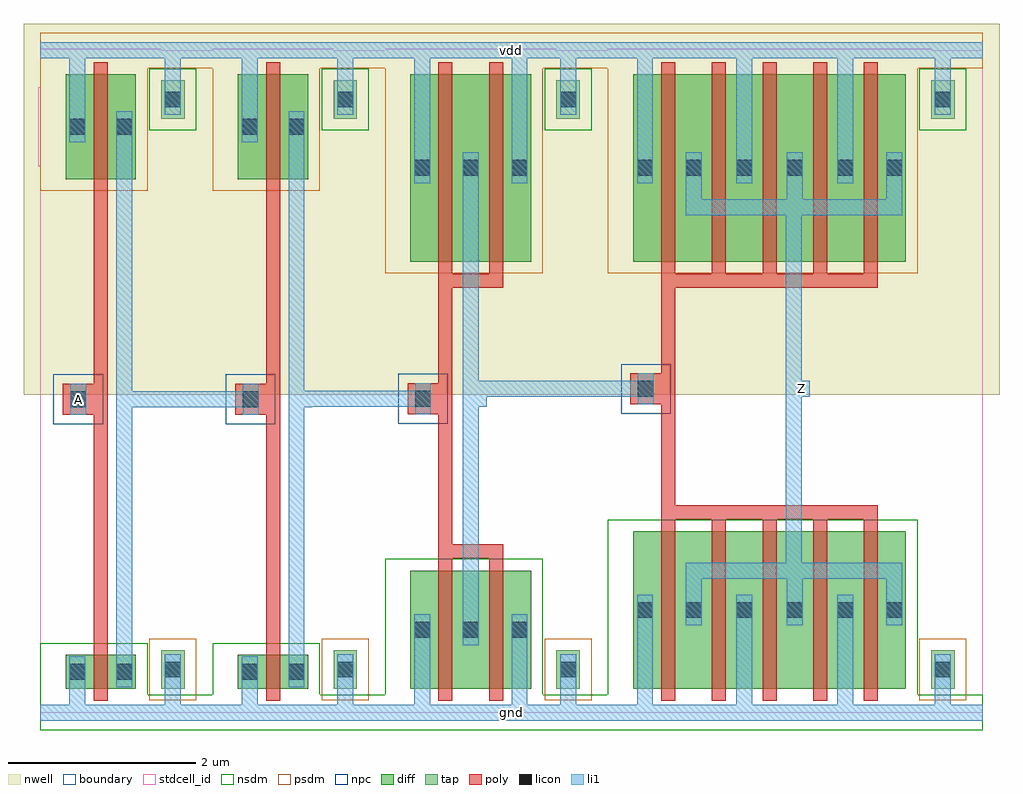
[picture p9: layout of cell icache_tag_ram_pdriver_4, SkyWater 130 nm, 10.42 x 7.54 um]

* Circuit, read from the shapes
.subckt icache_tag_ram_pdriver_4 A Z gnd vdd
XM1 icache_tag_ram_pinv_4_1/A A gnd gnd sky130_fd_pr__nfet_01v8 w=0.36 l=0.15
XM2 icache_tag_ram_pinv_9_2/A icache_tag_ram_pinv_4_1/A gnd gnd sky130_fd_pr__nfet_01v8 w=0.36 l=0.15
XM3 icache_tag_ram_pinv_14_3/A icache_tag_ram_pinv_9_2/A gnd gnd sky130_fd_pr__nfet_01v8 w=1.26 l=0.15 m=2
XM4 Z icache_tag_ram_pinv_14_3/A gnd gnd sky130_fd_pr__nfet_01v8 w=1.68 l=0.15 m=5
XM5 icache_tag_ram_pinv_4_1/A A vdd vdd sky130_fd_pr__pfet_01v8 w=1.12 l=0.15
XM6 icache_tag_ram_pinv_9_2/A icache_tag_ram_pinv_4_1/A vdd vdd sky130_fd_pr__pfet_01v8 w=1.12 l=0.15
XM7 icache_tag_ram_pinv_14_3/A icache_tag_ram_pinv_9_2/A vdd vdd sky130_fd_pr__pfet_01v8 w=2 l=0.15 m=2
XM8 Z icache_tag_ram_pinv_14_3/A vdd vdd sky130_fd_pr__pfet_01v8 w=2 l=0.15 m=5
.ends

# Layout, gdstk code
import gdstk
lib = gdstk.Library(unit=1e-6, precision=1e-09)
def R(c, l, rs):  # rectangles x0, y0, x1, y1
    for r in rs: c.add(gdstk.rectangle(r[:2], r[2:], *l))
def A(c, l, x, y, w, h, nx, ny, dx, dy):  # array of equal rectangles
    R(c, l, [(x+i*dx, y+j*dy, x+i*dx+w, y+j*dy+h) for i in range(nx) for j in range(ny)])
nwell = (64, 20)
diff = (65, 20)
tap = (65, 44)
poly = (66, 20)
licon = (66, 44)
li1 = (67, 20)
stdcell_id = (81, 4)
nsdm = (93, 44)
psdm = (94, 20)
npc = (95, 20)
boundary = (235, 4)

icache_tag_ram_contact_1 = lib.new_cell('icache_tag_ram_contact_11')
R(icache_tag_ram_contact_1, nwell, [(-0.295,-0.255,0.545,0.585)])
R(icache_tag_ram_contact_1, diff, [(0,0.02,0.25,0.31)])
R(icache_tag_ram_contact_1, licon, [(0.04,0.08,0.21,0.25)])
R(icache_tag_ram_contact_1, li1, [(0.04,0,0.21,0.33)])
R(icache_tag_ram_contact_1, stdcell_id, [(-0.295,-0.255,0.545,0.585)])
R(icache_tag_ram_contact_1, psdm, [(-0.125,-0.105,0.375,0.435)])
R(icache_tag_ram_contact_1, boundary, [(-0.295,-0.255,0.545,0.585)])

icache_tag_ram_pmos_m1_w = lib.new_cell('icache_tag_ram_pmos_m1_w1_120_sli_dli_da_p')
R(icache_tag_ram_pmos_m1_w, nwell, [(-0.27,-0.27,1.02,1.39)])
R(icache_tag_ram_pmos_m1_w, diff, [(0,0,0.75,1.12)])
R(icache_tag_ram_pmos_m1_w, poly, [(0.3,-0.13,0.45,1.25), (0.3,-0.13,0.45,1.25)])
R(icache_tag_ram_pmos_m1_w, li1, [(0.04,0.395,0.21,0.725), (0.54,0.395,0.71,0.725)])
R(icache_tag_ram_pmos_m1_w, stdcell_id, [(-0.27,-0.27,1.02,1.39)])
R(icache_tag_ram_pmos_m1_w, psdm, [(-0.125,-0.125,0.875,1.245)])
R(icache_tag_ram_pmos_m1_w, boundary, [(-0.27,-0.27,1.02,1.39)])
icache_tag_ram_pmos_m1_w.add(gdstk.Reference(icache_tag_ram_contact_1, (0,0.395)))
icache_tag_ram_pmos_m1_w.add(gdstk.Reference(icache_tag_ram_contact_1, (0.5,0.395)))
icache_tag_ram_pmos_m1_w.add(gdstk.Label('G', (0.375,0.56), layer=66, texttype=5))
icache_tag_ram_pmos_m1_w.add(gdstk.Label('S', (0.125,0.56), layer=67, texttype=5))
icache_tag_ram_pmos_m1_w.add(gdstk.Label('D', (0.625,0.56), layer=67, texttype=5))

c_icache_tag_ram_contact_1 = lib.new_cell('icache_tag_ram_contact_10')
R(c_icache_tag_ram_contact_1, diff, [(0,0.02,0.25,0.31)])
R(c_icache_tag_ram_contact_1, licon, [(0.04,0.08,0.21,0.25)])
R(c_icache_tag_ram_contact_1, li1, [(0.04,0,0.21,0.33)])
R(c_icache_tag_ram_contact_1, stdcell_id, [(-0.125,-0.105,0.375,0.435)])
R(c_icache_tag_ram_contact_1, nsdm, [(-0.125,-0.105,0.375,0.435)])
R(c_icache_tag_ram_contact_1, boundary, [(-0.125,-0.105,0.375,0.435)])

icache_tag_ram_nmos_m1_w = lib.new_cell('icache_tag_ram_nmos_m1_w0_360_sli_dli_da_p')
R(icache_tag_ram_nmos_m1_w, diff, [(0,0,0.75,0.36)])
R(icache_tag_ram_nmos_m1_w, poly, [(0.3,-0.13,0.45,0.49), (0.3,-0.13,0.45,0.49)])
R(icache_tag_ram_nmos_m1_w, li1, [(0.04,0.015,0.21,0.345), (0.54,0.015,0.71,0.345)])
R(icache_tag_ram_nmos_m1_w, stdcell_id, [(-0.125,-0.13,0.875,0.49)])
R(icache_tag_ram_nmos_m1_w, nsdm, [(-0.125,-0.125,0.875,0.485)])
R(icache_tag_ram_nmos_m1_w, boundary, [(-0.125,-0.13,0.875,0.49)])
icache_tag_ram_nmos_m1_w.add(gdstk.Reference(c_icache_tag_ram_contact_1, (0,0.015)))
icache_tag_ram_nmos_m1_w.add(gdstk.Reference(c_icache_tag_ram_contact_1, (0.5,0.015)))
icache_tag_ram_nmos_m1_w.add(gdstk.Label('G', (0.375,0.18), layer=66, texttype=5))
icache_tag_ram_nmos_m1_w.add(gdstk.Label('S', (0.125,0.18), layer=67, texttype=5))
icache_tag_ram_nmos_m1_w.add(gdstk.Label('D', (0.625,0.18), layer=67, texttype=5))

icache_tag_ram_contact_2 = lib.new_cell('icache_tag_ram_contact_24')
R(icache_tag_ram_contact_2, nwell, [(-0.295,-0.215,0.545,0.625)])
R(icache_tag_ram_contact_2, tap, [(0,0,0.25,0.41)])
R(icache_tag_ram_contact_2, licon, [(0.04,0.12,0.21,0.29)])
R(icache_tag_ram_contact_2, li1, [(0.04,0.04,0.21,0.37)])
R(icache_tag_ram_contact_2, stdcell_id, [(-0.295,-0.215,0.545,0.625)])
R(icache_tag_ram_contact_2, nsdm, [(-0.125,-0.125,0.375,0.535)])
R(icache_tag_ram_contact_2, boundary, [(-0.295,-0.215,0.545,0.625)])

c_icache_tag_ram_contact_2 = lib.new_cell('icache_tag_ram_contact_25')
R(c_icache_tag_ram_contact_2, tap, [(0,0,0.25,0.41)])
R(c_icache_tag_ram_contact_2, licon, [(0.04,0.12,0.21,0.29)])
R(c_icache_tag_ram_contact_2, li1, [(0.04,0.04,0.21,0.37)])
R(c_icache_tag_ram_contact_2, stdcell_id, [(-0.125,-0.125,0.375,0.535)])
R(c_icache_tag_ram_contact_2, psdm, [(-0.125,-0.125,0.375,0.535)])
R(c_icache_tag_ram_contact_2, boundary, [(-0.125,-0.125,0.375,0.535)])

c_icache_tag_ram_contact_1_ = lib.new_cell('icache_tag_ram_contact_15')
R(c_icache_tag_ram_contact_1_, poly, [(0,0,0.33,0.33)])
R(c_icache_tag_ram_contact_1_, licon, [(0.08,0.08,0.25,0.25)])
R(c_icache_tag_ram_contact_1_, li1, [(0.08,0,0.25,0.33)])
R(c_icache_tag_ram_contact_1_, stdcell_id, [(-0.1,-0.1,0.43,0.43)])
R(c_icache_tag_ram_contact_1_, npc, [(-0.1,-0.1,0.43,0.43)])
R(c_icache_tag_ram_contact_1_, boundary, [(-0.1,-0.1,0.43,0.43)])

icache_tag_ram_pinv_4 = lib.new_cell('icache_tag_ram_pinv_4')
R(icache_tag_ram_pinv_4, nwell, [(-0.18,3.395,2.02,7.355)])
R(icache_tag_ram_pinv_4, poly, [(0.57,0.745,0.72,5.565), (0.405,3.18,0.57,3.51)])
R(icache_tag_ram_pinv_4, li1, [(0,-0.085,1.84,0.085), (0.31,-0.085,0.48,0.27), (1.33,0,1.5,0.46), (0.81,0.27,0.98,6.42), (0.32,3.18,0.49,3.51), (0.895,3.26,1.065,3.43), (0.31,6.09,0.48,7.155), (1.33,6.545,1.5,7.07), (0,6.985,1.84,7.155)])
R(icache_tag_ram_pinv_4, stdcell_id, [(0,0,1.84,7.07), (0,0,1.84,7.07)])
R(icache_tag_ram_pinv_4, nsdm, [(0,-0.19,1.84,0.19), (0,0,1.145,0.74)])
R(icache_tag_ram_pinv_4, psdm, [(0,5.57,1.145,7.07), (0,6.88,1.84,7.26)])
R(icache_tag_ram_pinv_4, boundary, [(0,0,1.84,7.07), (0,0,1.84,7.07)])
icache_tag_ram_pinv_4.add(gdstk.Reference(icache_tag_ram_pmos_m1_w, (0.27,5.695)))
icache_tag_ram_pinv_4.add(gdstk.Reference(icache_tag_ram_nmos_m1_w, (0.27,0.255)))
icache_tag_ram_pinv_4.add(gdstk.Reference(icache_tag_ram_contact_2, (1.29,6.34)))
icache_tag_ram_pinv_4.add(gdstk.Reference(c_icache_tag_ram_contact_2, (1.29,0.255)))
icache_tag_ram_pinv_4.add(gdstk.Reference(c_icache_tag_ram_contact_1_, (0.24,3.18)))
icache_tag_ram_pinv_4.add(gdstk.Label('A', (0.405,3.345), layer=67, texttype=5))
icache_tag_ram_pinv_4.add(gdstk.Label('Z', (0.98,3.345), layer=67, texttype=5))
icache_tag_ram_pinv_4.add(gdstk.Label('gnd', (0.92,0), layer=67, texttype=5))
icache_tag_ram_pinv_4.add(gdstk.Label('vdd', (0.92,7.07), layer=67, texttype=5))

icache_tag_ram_pmos_m2_w = lib.new_cell('icache_tag_ram_pmos_m2_w2_000_sli_dli_da_p')
R(icache_tag_ram_pmos_m2_w, nwell, [(-0.27,-0.27,1.56,2.27)])
R(icache_tag_ram_pmos_m2_w, diff, [(0,0,1.29,2)])
R(icache_tag_ram_pmos_m2_w, poly, [(0.3,-0.28,0.99,-0.13), (0.3,-0.13,0.45,2.13), (0.84,-0.13,0.99,2.13)])
A(icache_tag_ram_pmos_m2_w, li1, 0.04, 0.835, 0.17, 0.33, 3, 1, 0.52, 0)
R(icache_tag_ram_pmos_m2_w, stdcell_id, [(-0.27,-0.28,1.56,2.27)])
R(icache_tag_ram_pmos_m2_w, psdm, [(-0.125,-0.125,1.415,2.125)])
R(icache_tag_ram_pmos_m2_w, boundary, [(-0.27,-0.28,1.56,2.27)])
icache_tag_ram_pmos_m2_w.add(gdstk.Reference(icache_tag_ram_contact_1, (0,0.835)))
icache_tag_ram_pmos_m2_w.add(gdstk.Reference(icache_tag_ram_contact_1, (0.52,0.835)))
icache_tag_ram_pmos_m2_w.add(gdstk.Reference(icache_tag_ram_contact_1, (1.04,0.835)))
icache_tag_ram_pmos_m2_w.add(gdstk.Label('G', (0.645,-0.205), layer=66, texttype=5))
icache_tag_ram_pmos_m2_w.add(gdstk.Label('S', (0.125,1), layer=67, texttype=5))
icache_tag_ram_pmos_m2_w.add(gdstk.Label('S', (1.165,1), layer=67, texttype=5))
icache_tag_ram_pmos_m2_w.add(gdstk.Label('D', (0.645,1), layer=67, texttype=5))

icache_tag_ram_nmos_m2_w = lib.new_cell('icache_tag_ram_nmos_m2_w1_260_sli_dli_da_p')
R(icache_tag_ram_nmos_m2_w, diff, [(0,0,1.29,1.26)])
R(icache_tag_ram_nmos_m2_w, poly, [(0.3,-0.13,0.45,1.39), (0.84,-0.13,0.99,1.39), (0.3,1.39,0.99,1.54)])
A(icache_tag_ram_nmos_m2_w, li1, 0.04, 0.465, 0.17, 0.33, 3, 1, 0.52, 0)
R(icache_tag_ram_nmos_m2_w, stdcell_id, [(-0.125,-0.13,1.415,1.54)])
R(icache_tag_ram_nmos_m2_w, nsdm, [(-0.125,-0.125,1.415,1.385)])
R(icache_tag_ram_nmos_m2_w, boundary, [(-0.125,-0.13,1.415,1.54)])
icache_tag_ram_nmos_m2_w.add(gdstk.Reference(c_icache_tag_ram_contact_1, (0,0.465)))
icache_tag_ram_nmos_m2_w.add(gdstk.Reference(c_icache_tag_ram_contact_1, (0.52,0.465)))
icache_tag_ram_nmos_m2_w.add(gdstk.Reference(c_icache_tag_ram_contact_1, (1.04,0.465)))
icache_tag_ram_nmos_m2_w.add(gdstk.Label('G', (0.645,1.465), layer=66, texttype=5))
icache_tag_ram_nmos_m2_w.add(gdstk.Label('S', (1.165,0.63), layer=67, texttype=5))
icache_tag_ram_nmos_m2_w.add(gdstk.Label('S', (0.125,0.63), layer=67, texttype=5))
icache_tag_ram_nmos_m2_w.add(gdstk.Label('D', (0.645,0.63), layer=67, texttype=5))

icache_tag_ram_pinv_9 = lib.new_cell('icache_tag_ram_pinv_9')
R(icache_tag_ram_pinv_9, nwell, [(-0.18,3.395,2.56,7.355)])
R(icache_tag_ram_pinv_9, poly, [(0.57,1.795,0.72,4.535), (0.405,3.185,0.57,3.515)])
R(icache_tag_ram_pinv_9, li1, [(0,-0.085,2.38,0.085), (0.31,-0.085,0.48,0.72), (1.35,-0.085,1.52,0.72), (1.87,0,2.04,0.46), (0.83,0.72,1,5.98), (0.32,3.185,0.49,3.515), (0.915,3.265,1.085,3.435), (0.31,5.65,0.48,7.155), (1.35,5.65,1.52,7.155), (1.87,6.545,2.04,7.07), (0,6.985,2.38,7.155)])
R(icache_tag_ram_pinv_9, stdcell_id, [(0,0,2.38,7.07), (0,0,2.38,7.07)])
R(icache_tag_ram_pinv_9, nsdm, [(0,-0.19,2.38,0.19), (0,0,1.685,1.64)])
R(icache_tag_ram_pinv_9, psdm, [(0,4.69,1.685,7.07), (0,6.88,2.38,7.26)])
R(icache_tag_ram_pinv_9, boundary, [(0,0,2.38,7.07), (0,0,2.38,7.07)])
icache_tag_ram_pinv_9.add(gdstk.Reference(icache_tag_ram_pmos_m2_w, (0.27,4.815)))
icache_tag_ram_pinv_9.add(gdstk.Reference(icache_tag_ram_nmos_m2_w, (0.27,0.255)))
icache_tag_ram_pinv_9.add(gdstk.Reference(icache_tag_ram_contact_2, (1.83,6.34)))
icache_tag_ram_pinv_9.add(gdstk.Reference(c_icache_tag_ram_contact_2, (1.83,0.255)))
icache_tag_ram_pinv_9.add(gdstk.Reference(c_icache_tag_ram_contact_1_, (0.24,3.185)))
icache_tag_ram_pinv_9.add(gdstk.Label('A', (0.405,3.35), layer=67, texttype=5))
icache_tag_ram_pinv_9.add(gdstk.Label('Z', (1,3.35), layer=67, texttype=5))
icache_tag_ram_pinv_9.add(gdstk.Label('gnd', (1.19,0), layer=67, texttype=5))
icache_tag_ram_pinv_9.add(gdstk.Label('vdd', (1.19,7.07), layer=67, texttype=5))

icache_tag_ram_pmos_m5_w = lib.new_cell('icache_tag_ram_pmos_m5_w2_000_sli_dli_da_p')
R(icache_tag_ram_pmos_m5_w, nwell, [(-0.27,-0.27,3.18,2.27)])
R(icache_tag_ram_pmos_m5_w, diff, [(0,0,2.91,2)])
A(icache_tag_ram_pmos_m5_w, poly, 0.3, -0.13, 0.15, 2.26, 5, 1, 0.54, 0)
R(icache_tag_ram_pmos_m5_w, poly, [(0.3,-0.28,2.61,-0.13)])
R(icache_tag_ram_pmos_m5_w, li1, [(0.56,0.495,2.87,0.665), (0.56,0.58,0.73,1), (1.64,0.58,1.81,1), (2.7,0.58,2.87,1), (0.04,0.835,0.21,1.165), (1.1,0.835,1.27,1.165), (2.18,0.835,2.35,1.165)])
R(icache_tag_ram_pmos_m5_w, stdcell_id, [(-0.27,-0.28,3.18,2.27)])
R(icache_tag_ram_pmos_m5_w, psdm, [(-0.125,-0.125,3.035,2.125)])
R(icache_tag_ram_pmos_m5_w, boundary, [(-0.27,-0.28,3.18,2.27)])
icache_tag_ram_pmos_m5_w.add(gdstk.Reference(icache_tag_ram_contact_1, (0,0.835)))
icache_tag_ram_pmos_m5_w.add(gdstk.Reference(icache_tag_ram_contact_1, (0.52,0.835)))
icache_tag_ram_pmos_m5_w.add(gdstk.Reference(icache_tag_ram_contact_1, (1.06,0.835)))
icache_tag_ram_pmos_m5_w.add(gdstk.Reference(icache_tag_ram_contact_1, (1.6,0.835)))
icache_tag_ram_pmos_m5_w.add(gdstk.Reference(icache_tag_ram_contact_1, (2.14,0.835)))
icache_tag_ram_pmos_m5_w.add(gdstk.Reference(icache_tag_ram_contact_1, (2.66,0.835)))
icache_tag_ram_pmos_m5_w.add(gdstk.Label('G', (1.455,-0.205), layer=66, texttype=5))
icache_tag_ram_pmos_m5_w.add(gdstk.Label('S', (0.125,1), layer=67, texttype=5))
icache_tag_ram_pmos_m5_w.add(gdstk.Label('S', (2.265,1), layer=67, texttype=5))
icache_tag_ram_pmos_m5_w.add(gdstk.Label('S', (1.185,1), layer=67, texttype=5))
icache_tag_ram_pmos_m5_w.add(gdstk.Label('D', (1.715,0.58), layer=67, texttype=5))

icache_tag_ram_nmos_m5_w = lib.new_cell('icache_tag_ram_nmos_m5_w1_680_sli_dli_da_p')
R(icache_tag_ram_nmos_m5_w, diff, [(0,0,2.91,1.68)])
A(icache_tag_ram_nmos_m5_w, poly, 0.3, -0.13, 0.15, 1.94, 5, 1, 0.54, 0)
R(icache_tag_ram_nmos_m5_w, poly, [(0.3,1.81,2.61,1.96)])
R(icache_tag_ram_nmos_m5_w, li1, [(0.04,0.675,0.21,1.005), (1.1,0.675,1.27,1.005), (2.18,0.675,2.35,1.005), (0.56,0.84,0.73,1.26), (1.64,0.84,1.81,1.26), (2.7,0.84,2.87,1.26), (0.56,1.175,2.87,1.345)])
R(icache_tag_ram_nmos_m5_w, stdcell_id, [(-0.125,-0.13,3.035,1.96)])
R(icache_tag_ram_nmos_m5_w, nsdm, [(-0.125,-0.125,3.035,1.805)])
R(icache_tag_ram_nmos_m5_w, boundary, [(-0.125,-0.13,3.035,1.96)])
icache_tag_ram_nmos_m5_w.add(gdstk.Reference(c_icache_tag_ram_contact_1, (0,0.675)))
icache_tag_ram_nmos_m5_w.add(gdstk.Reference(c_icache_tag_ram_contact_1, (0.52,0.675)))
icache_tag_ram_nmos_m5_w.add(gdstk.Reference(c_icache_tag_ram_contact_1, (1.06,0.675)))
icache_tag_ram_nmos_m5_w.add(gdstk.Reference(c_icache_tag_ram_contact_1, (1.6,0.675)))
icache_tag_ram_nmos_m5_w.add(gdstk.Reference(c_icache_tag_ram_contact_1, (2.14,0.675)))
icache_tag_ram_nmos_m5_w.add(gdstk.Reference(c_icache_tag_ram_contact_1, (2.66,0.675)))
icache_tag_ram_nmos_m5_w.add(gdstk.Label('G', (1.455,1.885), layer=66, texttype=5))
icache_tag_ram_nmos_m5_w.add(gdstk.Label('S', (1.185,0.84), layer=67, texttype=5))
icache_tag_ram_nmos_m5_w.add(gdstk.Label('S', (2.265,0.84), layer=67, texttype=5))
icache_tag_ram_nmos_m5_w.add(gdstk.Label('S', (0.125,0.84), layer=67, texttype=5))
icache_tag_ram_nmos_m5_w.add(gdstk.Label('D', (1.715,1.26), layer=67, texttype=5))

icache_tag_ram_pinv_14 = lib.new_cell('icache_tag_ram_pinv_14')
R(icache_tag_ram_pinv_14, nwell, [(-0.18,3.395,4.18,7.355)])
R(icache_tag_ram_pinv_14, poly, [(0.57,2.215,0.72,4.535), (0.405,3.29,0.57,3.62)])
R(icache_tag_ram_pinv_14, li1, [(0,-0.085,4,0.085), (0.31,-0.085,0.48,0.93), (1.37,-0.085,1.54,0.93), (2.45,-0.085,2.62,0.93), (3.49,0,3.66,0.46), (1.9,1.43,2.07,5.48), (0.32,3.29,0.49,3.62), (1.985,3.37,2.155,3.54), (0.31,5.65,0.48,7.155), (1.37,5.65,1.54,7.155), (2.45,5.65,2.62,7.155), (3.49,6.545,3.66,7.07), (0,6.985,4,7.155)])
R(icache_tag_ram_pinv_14, stdcell_id, [(0,0,4,7.07), (0,0,4,7.07)])
R(icache_tag_ram_pinv_14, nsdm, [(0,-0.19,4,0.19), (0,0,3.305,2.06)])
R(icache_tag_ram_pinv_14, psdm, [(0,4.69,3.305,7.07), (0,6.88,4,7.26)])
R(icache_tag_ram_pinv_14, boundary, [(0,0,4,7.07), (0,0,4,7.07)])
icache_tag_ram_pinv_14.add(gdstk.Reference(icache_tag_ram_pmos_m5_w, (0.27,4.815)))
icache_tag_ram_pinv_14.add(gdstk.Reference(icache_tag_ram_nmos_m5_w, (0.27,0.255)))
icache_tag_ram_pinv_14.add(gdstk.Reference(icache_tag_ram_contact_2, (3.45,6.34)))
icache_tag_ram_pinv_14.add(gdstk.Reference(c_icache_tag_ram_contact_2, (3.45,0.255)))
icache_tag_ram_pinv_14.add(gdstk.Reference(c_icache_tag_ram_contact_1_, (0.24,3.29)))
icache_tag_ram_pinv_14.add(gdstk.Label('A', (0.405,3.455), layer=67, texttype=5))
icache_tag_ram_pinv_14.add(gdstk.Label('Z', (2.07,3.455), layer=67, texttype=5))
icache_tag_ram_pinv_14.add(gdstk.Label('gnd', (2,0), layer=67, texttype=5))
icache_tag_ram_pinv_14.add(gdstk.Label('vdd', (2,7.07), layer=67, texttype=5))

icache_tag_ram_pdriver_4 = lib.new_cell('icache_tag_ram_pdriver_4')
R(icache_tag_ram_pdriver_4, nwell, [(-0.18,3.395,10.24,7.355)])
R(icache_tag_ram_pdriver_4, li1, [(0,-0.085,10.06,0.085), (0.32,3.18,0.49,3.51), (0.98,3.26,2.245,3.43), (2.735,3.265,2.905,3.435), (2.82,3.265,4.085,3.435), (2.735,3.345,2.905,3.35), (4.595,3.35,4.765,3.455), (4.595,3.37,4.765,3.54), (4.68,3.37,6.465,3.54), (8.045,3.37,8.215,3.54), (0,6.985,10.06,7.155)])
R(icache_tag_ram_pdriver_4, stdcell_id, [(0,0,10.06,7.07), (0,0,10.06,7.07)])
R(icache_tag_ram_pdriver_4, nsdm, [(0,-0.19,10.06,0.19)])
R(icache_tag_ram_pdriver_4, psdm, [(0,6.88,10.06,7.26)])
R(icache_tag_ram_pdriver_4, boundary, [(0,0,10.06,7.07), (0,0,10.06,7.07)])
icache_tag_ram_pdriver_4.add(gdstk.Reference(icache_tag_ram_pinv_4, (0,0)))
icache_tag_ram_pdriver_4.add(gdstk.Reference(icache_tag_ram_pinv_4, (1.84,0)))
icache_tag_ram_pdriver_4.add(gdstk.Reference(icache_tag_ram_pinv_9, (3.68,0)))
icache_tag_ram_pdriver_4.add(gdstk.Reference(icache_tag_ram_pinv_14, (6.06,0)))
icache_tag_ram_pdriver_4.add(gdstk.Label('Z', (8.13,3.455), layer=67, texttype=5))
icache_tag_ram_pdriver_4.add(gdstk.Label('A', (0.405,3.345), layer=67, texttype=5))
icache_tag_ram_pdriver_4.add(gdstk.Label('gnd', (5.03,0), layer=67, texttype=5))
icache_tag_ram_pdriver_4.add(gdstk.Label('vdd', (5.03,7.07), layer=67, texttype=5))

lib.write_gds('icache_tag_ram_pdriver_4.gds')
